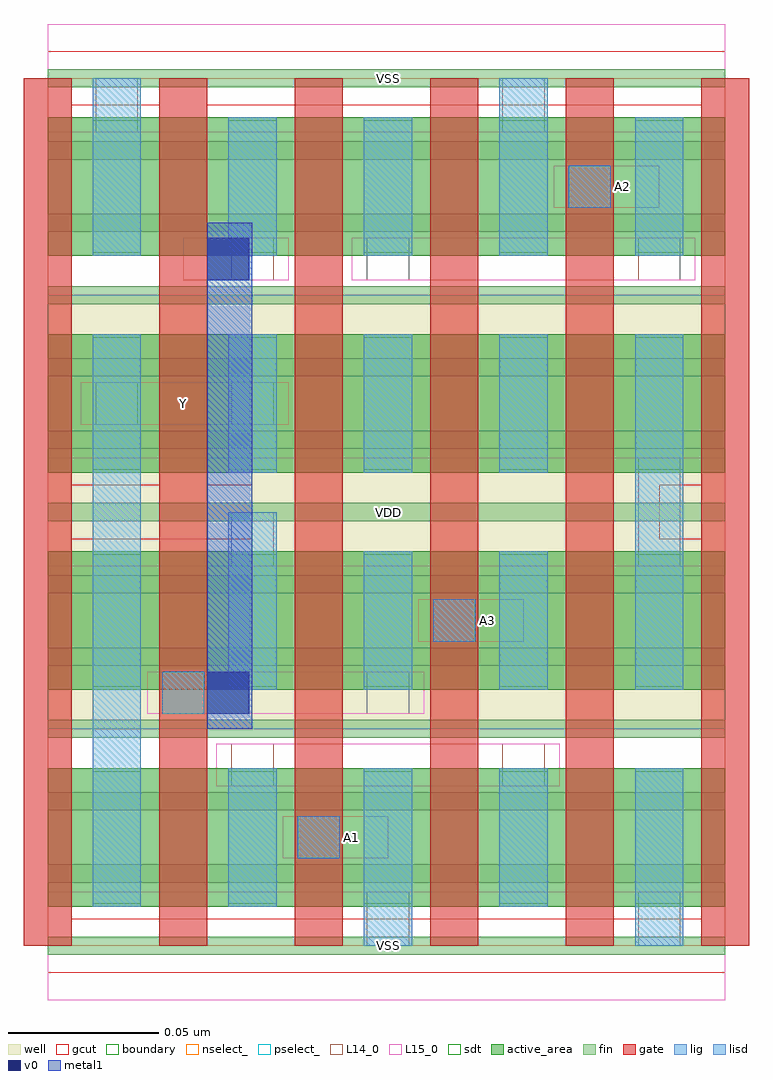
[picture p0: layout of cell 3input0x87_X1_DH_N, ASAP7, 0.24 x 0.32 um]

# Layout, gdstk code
import gdstk
lib = gdstk.Library(unit=1e-6, precision=1e-09)
def R(c, l, rs):  # rectangles x0, y0, x1, y1
    for r in rs: c.add(gdstk.rectangle(r[:2], r[2:], *l))
def A(c, l, x, y, w, h, nx, ny, dx, dy):  # array of equal rectangles
    R(c, l, [(x+i*dx, y+j*dy, x+i*dx+w, y+j*dy+h) for i in range(nx) for j in range(ny)])
def P(c, l, *ps):  # polygons
    for p in ps: c.add(gdstk.Polygon(p, *l))
well = (1, 0)
fin = (2, 0)
gate = (7, 0)
gcut = (10, 0)
active_area = (11, 0)
nselect_ = (12, 0)
pselect_ = (13, 0)
L14_0 = (14, 0)
L15_0 = (15, 0)
lig = (16, 0)
lisd = (17, 0)
v0 = (18, 0)
metal1 = (19, 0)
sdt = (88, 0)
boundary = (100, 0)

c_3input0x87_x1_dh_n = lib.new_cell('3input0x87_X1_DH_N')
R(c_3input0x87_x1_dh_n, well, [(0,0.072,0.225,0.144), (0,0.144,0.225,0.216)])
A(c_3input0x87_x1_dh_n, fin, 0, -0.003, 0.225, 0.006, 1, 13, 0, 0.024)
A(c_3input0x87_x1_dh_n, gate, -0.008, 0, 0.016, 0.288, 6, 1, 0.045, 0)
P(c_3input0x87_x1_dh_n, gcut, [(0,-0.009),(0,0),(-0.008,0),(-0.008,0.279),(0.008,0.279),(0.008,0.153),(0.037,0.153),(0.037,0.279),(0.053,0.279),(0.053,0.153),(0.068,0.153),(0.068,0.135),(0.008,0.135),(0.008,0.009),(0.217,0.009),(0.217,0.135),(0.203,0.135),(0.203,0.153),(0.217,0.153),(0.217,0.279),(-0.008,0.279),(-0.008,0.288),(0,0.288),(0,0.297),(0.225,0.297),(0.225,0.288),(0.233,0.288),(0.233,0),(0.225,0),(0.225,-0.009)])
A(c_3input0x87_x1_dh_n, active_area, 0, 0.013, 0.225, 0.046, 1, 4, 0, 0.072)
R(c_3input0x87_x1_dh_n, nselect_, [(0,0,0.225,0.072), (0,0.216,0.225,0.288)])
R(c_3input0x87_x1_dh_n, pselect_, [(0,0.072,0.225,0.144), (0,0.144,0.225,0.216)])
R(c_3input0x87_x1_dh_n, L14_0, [(0.106,0,0.12,0.018), (0.196,0,0.21,0.018), (0.083,0.029,0.097,0.043), (0.061,0.053,0.075,0.067), (0.151,0.053,0.165,0.067), (0.038,0.077,0.052,0.091), (0.106,0.077,0.12,0.091), (0.128,0.101,0.142,0.115), (0.061,0.126,0.075,0.144), (0.196,0.126,0.21,0.144), (0.196,0.144,0.21,0.162), (0.016,0.173,0.03,0.187), (0.061,0.173,0.075,0.187), (0.061,0.221,0.075,0.235), (0.106,0.221,0.12,0.235), (0.196,0.221,0.21,0.235), (0.173,0.245,0.187,0.259), (0.016,0.27,0.03,0.288), (0.151,0.27,0.165,0.288)])
A(c_3input0x87_x1_dh_n, L15_0, 0, -0.018, 0.225, 0.036, 1, 3, 0, 0.144)
R(c_3input0x87_x1_dh_n, L15_0, [(0.078,0.029,0.113,0.043), (0.056,0.053,0.17,0.067), (0.033,0.077,0.125,0.091), (0.123,0.101,0.158,0.115), (0.011,0.173,0.08,0.187), (0.045,0.221,0.08,0.235), (0.101,0.221,0.215,0.235), (0.168,0.245,0.203,0.259)])
R(c_3input0x87_x1_dh_n, lig, [(0.083,0.029,0.097,0.043), (0.038,0.077,0.052,0.091), (0.128,0.101,0.142,0.115), (0.173,0.245,0.187,0.259)])
A(c_3input0x87_x1_dh_n, lisd, 0.06, 0.157, 0.016, 0.046, 3, 1, 0.045, 0)
R(c_3input0x87_x1_dh_n, lisd, [(0.105,0,0.121,0.059), (0.195,0,0.211,0.059), (0.015,0.013,0.031,0.203), (0.06,0.013,0.076,0.059), (0.15,0.013,0.166,0.059), (0.06,0.085,0.076,0.144), (0.105,0.085,0.121,0.131), (0.15,0.085,0.166,0.131), (0.195,0.085,0.211,0.203), (0.015,0.229,0.031,0.288), (0.06,0.229,0.076,0.275), (0.105,0.229,0.121,0.275), (0.15,0.229,0.166,0.288), (0.195,0.229,0.211,0.275)])
R(c_3input0x87_x1_dh_n, v0, [(0.053,0.077,0.067,0.091), (0.053,0.221,0.067,0.235)])
R(c_3input0x87_x1_dh_n, metal1, [(0.053,0.072,0.068,0.24)])
A(c_3input0x87_x1_dh_n, sdt, 0.015, 0.014, 0.016, 0.044, 5, 4, 0.045, 0.072)
R(c_3input0x87_x1_dh_n, boundary, [(0,0,0.225,0.288)])
c_3input0x87_x1_dh_n.add(gdstk.Label('Y', (0.045,0.18), layer=15, texttype=251))
c_3input0x87_x1_dh_n.add(gdstk.Label('VSS', (0.113,0), layer=15, texttype=251))
c_3input0x87_x1_dh_n.add(gdstk.Label('VDD', (0.113,0.144), layer=15, texttype=251))
c_3input0x87_x1_dh_n.add(gdstk.Label('VDD', (0.113,0.144), layer=15, texttype=251))
c_3input0x87_x1_dh_n.add(gdstk.Label('VSS', (0.113,0.288), layer=15, texttype=251))
c_3input0x87_x1_dh_n.add(gdstk.Label('A2', (0.191,0.252), layer=15, texttype=251))
c_3input0x87_x1_dh_n.add(gdstk.Label('VSS', (0.113,0), layer=15, texttype=251))
c_3input0x87_x1_dh_n.add(gdstk.Label('VDD', (0.113,0.144), layer=15, texttype=251))
c_3input0x87_x1_dh_n.add(gdstk.Label('VDD', (0.113,0.144), layer=15, texttype=251))
c_3input0x87_x1_dh_n.add(gdstk.Label('VSS', (0.113,0.288), layer=15, texttype=251))
c_3input0x87_x1_dh_n.add(gdstk.Label('A1', (0.101,0.036), layer=15, texttype=251))
c_3input0x87_x1_dh_n.add(gdstk.Label('VSS', (0.113,0), layer=15, texttype=251))
c_3input0x87_x1_dh_n.add(gdstk.Label('VDD', (0.113,0.144), layer=15, texttype=251))
c_3input0x87_x1_dh_n.add(gdstk.Label('VDD', (0.113,0.144), layer=15, texttype=251))
c_3input0x87_x1_dh_n.add(gdstk.Label('VSS', (0.113,0.288), layer=15, texttype=251))
c_3input0x87_x1_dh_n.add(gdstk.Label('A3', (0.146,0.108), layer=15, texttype=251))
c_3input0x87_x1_dh_n.add(gdstk.Label('VSS', (0.113,0), layer=15, texttype=251))
c_3input0x87_x1_dh_n.add(gdstk.Label('VDD', (0.113,0.144), layer=15, texttype=251))
c_3input0x87_x1_dh_n.add(gdstk.Label('VDD', (0.113,0.144), layer=15, texttype=251))
c_3input0x87_x1_dh_n.add(gdstk.Label('VSS', (0.113,0.288), layer=15, texttype=251))
c_3input0x87_x1_dh_n.add(gdstk.Label('VSS', (0.113,0), layer=3, texttype=251))
c_3input0x87_x1_dh_n.add(gdstk.Label('VSS', (0.113,0.288), layer=3, texttype=251))
c_3input0x87_x1_dh_n.add(gdstk.Label('VSS', (0.113,0), layer=3, texttype=251))
c_3input0x87_x1_dh_n.add(gdstk.Label('VSS', (0.113,0.288), layer=3, texttype=251))
c_3input0x87_x1_dh_n.add(gdstk.Label('VSS', (0.113,0), layer=3, texttype=251))
c_3input0x87_x1_dh_n.add(gdstk.Label('VSS', (0.113,0.288), layer=3, texttype=251))
c_3input0x87_x1_dh_n.add(gdstk.Label('VSS', (0.113,0), layer=3, texttype=251))
c_3input0x87_x1_dh_n.add(gdstk.Label('VSS', (0.113,0.288), layer=3, texttype=251))
c_3input0x87_x1_dh_n.add(gdstk.Label('VDD', (0.113,0.144), layer=1, texttype=251))
c_3input0x87_x1_dh_n.add(gdstk.Label('VDD', (0.113,0.144), layer=1, texttype=251))
c_3input0x87_x1_dh_n.add(gdstk.Label('VDD', (0.113,0.144), layer=1, texttype=251))
c_3input0x87_x1_dh_n.add(gdstk.Label('VDD', (0.113,0.144), layer=1, texttype=251))
c_3input0x87_x1_dh_n.add(gdstk.Label('VDD', (0.113,0.144), layer=1, texttype=251))
c_3input0x87_x1_dh_n.add(gdstk.Label('VDD', (0.113,0.144), layer=1, texttype=251))
c_3input0x87_x1_dh_n.add(gdstk.Label('VDD', (0.113,0.144), layer=1, texttype=251))
c_3input0x87_x1_dh_n.add(gdstk.Label('VDD', (0.113,0.144), layer=1, texttype=251))

lib.write_gds('3input0x87_X1_DH_N.gds')
